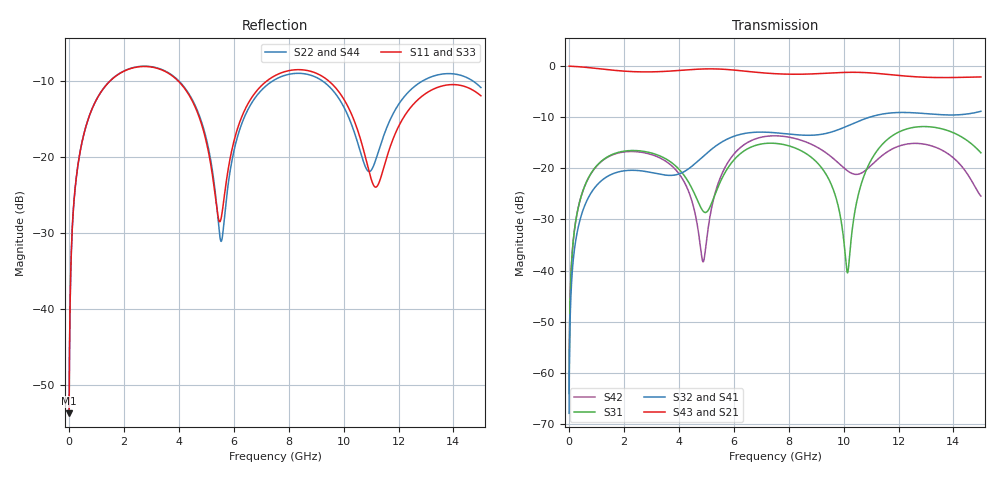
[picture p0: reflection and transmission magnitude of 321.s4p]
! Created with skrf 1.8.0 (http://scikit-rf.org).
# GHz S RI R 50.0
!freq ReS11 ImS11 ReS12 ImS12 ReS13 ImS13
! ReS14 ImS14
! ReS21 ImS21 ReS22 ImS22 ReS23 ImS23
! ReS24 ImS24
! ReS31 ImS31 ReS32 ImS32 ReS33 ImS33
! ReS34 ImS34
! ReS41 ImS41 ReS42 ImS42 ReS43 ImS43
! ReS44 ImS44
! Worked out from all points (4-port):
!   2499 points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, 5 MHz to 15 GHz, reference 50 ohm
!   strongest paths, dB at 5 MHz, 3.476 GHz, 7.19 GHz, 11.1 GHz, 15 GHz:
!     S43: 0.0, -1.0, -1.4, -1.4, -2.1
!     S21: 0.0, -1.0, -1.4, -1.4, -2.1
!     S32: -67.9, -21.3, -12.9, -9.8, -8.8
!     S41: -67.9, -21.3, -13.0, -9.8, -8.9
!     S31: -64.1, -18.0, -15.1, -17.5, -17.0
!     S42: -64.1, -18.5, -13.7, -18.9, -25.4
!   lowest |S11| = -53.8 dB at 5 MHz (marker M1), VSWR 1.00, Z = 50.2 + j0.125 ohm
!   |S11| at or under -10 dB: start of sweep to 1.485 GHz; 3.988 GHz to 7.189 GHz (3.201 GHz wide, 57.3 % of centre); 9.472 GHz to end of sweep
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0.005  0.00163 0.00124  0.9983 -0.00317  8.1e-05 0.000621  -7.88e-05 -0.000394
       0.9983 -0.00317  0.00163 0.00124  -7.88e-05 -0.000394  8.09e-05 0.000621
       8.1e-05 0.000621  -7.88e-05 -0.000394  0.00163 0.00124  0.9983 -0.00317
       -7.88e-05 -0.000394  8.09e-05 0.000621  0.9983 -0.00317  0.00163 0.00124
0.3626511  0.0298 0.0933  0.9589 -0.2272  0.0139 0.0419  -0.0114 -0.0261
           0.9589 -0.2272  0.0299 0.0933  -0.0114 -0.0261  0.0135 0.0421
           0.0139 0.0419  -0.0114 -0.0261  0.0298 0.0933  0.9589 -0.2272
           -0.0114 -0.0261  0.0135 0.0421  0.9589 -0.2272  0.0299 0.0933
1.619545  0.2822 0.1763  0.5237 -0.7451  0.1285 0.051  -0.0889 -0.00248
          0.5237 -0.7451  0.2837 0.1752  -0.0889 -0.00238  0.1236 0.0581
          0.1285 0.051  -0.0889 -0.00238  0.2821 0.1763  0.5238 -0.7451
          -0.0889 -0.00248  0.1236 0.0581  0.5238 -0.7451  0.2837 0.1752
5.35223  0.0386 -0.0331  -0.927 -0.1439  -0.034 0.0478  -0.0239 0.1641
         -0.927 -0.1439  0.0297 -0.0444  -0.0225 0.1642  0.0197 0.0577
         -0.034 0.0478  -0.0225 0.1642  0.0393 -0.0333  -0.927 -0.1443
         -0.0239 0.1641  0.0197 0.0577  -0.927 -0.1443  0.0291 -0.0446
8.559817  0.3718 -0.0517  0.0168 0.8325  0.1358 -0.0461  0.1996 -0.0646
          0.0168 0.8325  0.3535 -0.0305  0.1997 -0.0676  0.1368 -0.1231
          0.1358 -0.0461  0.1997 -0.0676  0.3681 -0.0503  0.0164 0.8339
          0.1996 -0.0646  0.1368 -0.1231  0.0164 0.8339  0.3505 -0.0313
10.14173  0.1475 -0.1611  0.6756 0.5444  0.00915 0.0025  0.1582 -0.2055
          0.6756 0.5444  0.1456 -0.1235  0.1544 -0.2088  -0.0688 -0.065
          0.00915 0.0025  0.1544 -0.2088  0.1461 -0.1549  0.6772 0.5445
          0.1582 -0.2055  -0.0688 -0.065  0.6772 0.5445  0.139 -0.1212
15  0.2443 -0.0688  -0.3315 -0.7097  -0.0208 -0.1404  -0.3225 0.1621
    -0.3315 -0.7097  0.2544 -0.1343  -0.3183 0.1704  -0.0161 -0.0511
    -0.0208 -0.1404  -0.3183 0.1704  0.245 -0.0678  -0.3292 -0.7108
    -0.3225 0.1621  -0.0161 -0.0511  -0.3292 -0.7108  0.2554 -0.1325
